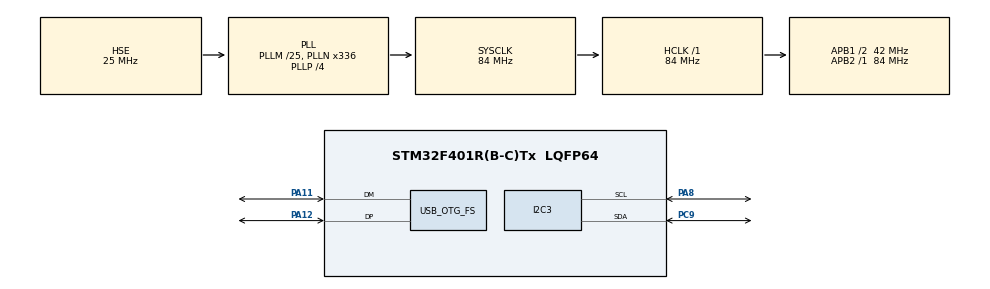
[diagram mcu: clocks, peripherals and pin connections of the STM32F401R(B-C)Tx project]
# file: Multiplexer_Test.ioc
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I2C3.I2C_Mode=I2C_Fast
Mcu.Family=STM32F4
Mcu.Name=STM32F401R(B-C)Tx
Mcu.Package=LQFP64
NVIC.PriorityGroup=NVIC_PRIORITYGROUP_4
PA11.Mode=Device_Only
PA11.Signal=USB_OTG_FS_DM
PA12.Mode=Device_Only
PA12.Signal=USB_OTG_FS_DP
PA13.Mode=Serial_Wire
PA13.Signal=SYS_JTMS-SWDIO
PA14.Mode=Serial_Wire
PA14.Signal=SYS_JTCK-SWCLK
PA8.Mode=I2C
PA8.Signal=I2C3_SCL
PC9.Mode=I2C
PC9.Signal=I2C3_SDA
PH0\ -\ OSC_IN.Mode=HSE-External-Oscillator
PH0\ -\ OSC_IN.Signal=RCC_OSC_IN
PH1\ -\ OSC_OUT.Mode=HSE-External-Oscillator
PH1\ -\ OSC_OUT.Signal=RCC_OSC_OUT
ProjectManager.HeapSize=0x200
ProjectManager.StackSize=0x400
ProjectManager.TargetToolchain=STM32CubeIDE
RCC.48MHZClocksFreq_Value=48000000
RCC.AHBFreq_Value=84000000
RCC.APB1CLKDivider=RCC_HCLK_DIV2
RCC.APB1Freq_Value=42000000
RCC.APB1TimFreq_Value=84000000
RCC.APB2Freq_Value=84000000
RCC.APB2TimFreq_Value=84000000
RCC.CortexFreq_Value=84000000
RCC.HCLKFreq_Value=84000000
RCC.HSE_VALUE=25000000
RCC.HSI_VALUE=16000000
RCC.LSE_VALUE=32768
RCC.PLLM=25
RCC.PLLN=336
RCC.PLLP=RCC_PLLP_DIV4
RCC.PLLQ=7
RCC.SYSCLKFreq_VALUE=84000000
RCC.SYSCLKSource=RCC_SYSCLKSOURCE_PLLCLK
RCC.VCOOutputFreq_Value=336000000
USB_OTG_FS.VirtualMode=Device_Only
board=custom

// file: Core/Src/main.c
/* USER CODE BEGIN Header */
/**
 ******************************************************************************
 * @file           : main.c
 * @brief          : Main program body
 ******************************************************************************
 * @attention
 *
 * Copyright (c) 2026 STMicroelectronics.
 * All rights reserved.
 *
 * This software is licensed under terms that can be found in the LICENSE file
 * in the root directory of this software component.
 * If no LICENSE file comes with this software, it is provided AS-IS.
 *
 ******************************************************************************
 */
/* USER CODE END Header */
#include "main.h"

/* USER CODE BEGIN Includes */
#include "vl53l0.h"
#include "multiplexer.h"
/* USER CODE END Includes */

I2C_HandleTypeDef hi2c3;

PCD_HandleTypeDef hpcd_USB_OTG_FS;

/* USER CODE BEGIN PV */

TCA9548A_Dev_t mux;
VL53L0X_Dev_t sensor[3];
VL53L0X_RangingMeasurementData_t sensor_data[3];
/* USER CODE END PV */

void SystemClock_Config(void);
static void MX_GPIO_Init(void);
static void MX_I2C3_Init(void);
static void MX_USB_OTG_FS_PCD_Init(void);

int main(void)
{

	/* MCU Configuration--------------------------------------------------------*/

	/* Reset of all peripherals, Initializes the Flash interface and the Systick. */
	HAL_Init();

	/* Configure the system clock */
	SystemClock_Config();

	/* Initialize all configured peripherals */
	MX_GPIO_Init();
	MX_I2C3_Init();
	MX_USB_OTG_FS_PCD_Init();
	/* USER CODE BEGIN 2 */
	HAL_Delay(2000); /* Wait for USB */
	/* ── 1. Initialize TCA9548A multiplexer ───────────────────────────────── */
	printf("Initializing TCA9548A multiplexer...\r\n");

	TCA9548A_Status_t mux_status = TCA9548A_Init(&mux, &hi2c3, TCA9548A_DEFAULT_ADDRESS, NULL, 0);  /* No RESET pin control */

	if (mux_status != TCA9548A_OK)
	{
		printf("ERROR: Mux init failed (err %d)\r\n", mux_status);
		while(1);
	}
	printf("TCA9548A multiplexer ready\r\n");

	/* ── 2. Initialize all VL53L0X sensors ───────────────────────────────── */
	for (int i = 0; i < 3; i++)
	{
		/* First, select the channel */
		TCA9548A_SelectChannel(&mux, i);

		/* Initialize sensor on this channel */
		VL53L0X_Status_t tof_status = VL53L0X_Init(&sensor[i],
				&hi2c3,     /* Same I2C bus */
				NULL, 0,    /* XSHUT not used */
				i);         /* Sensor ID */

		if (tof_status != VL53L0X_OK)
		{
			printf("ERROR: Sensor %d init failed (err %d)\r\n", i, tof_status);
			while(1);
		}

		/* Configure sensor to use multiplexer */
		VL53L0X_SetMuxChannel(&sensor[i], &mux, i);

		printf("Sensor %d initialized on channel %d\r\n", i, i);
	}

	printf("All sensors ready!\r\n");

	/* USER CODE END 2 */

	/* Infinite loop */
	/* USER CODE BEGIN WHILE */
	while (1)
	{
		for (int i = 0; i < 3; i++)
		{
			/* VL53L0X driver auto-selects the correct channel */
			VL53L0X_Status_t status = VL53L0X_PerformSingleRangingMeasurement(&sensor[i], &sensor_data[i]);

			if (status == VL53L0X_OK && sensor_data[i].RangeStatus == 0)
			{
				printf("Sensor %d: %d mm\r\n", i, sensor_data[i].RangeMilliMeter);
			}
			else
			{
				printf("Sensor %d: ERROR (status=%d, range_status=%d)\r\n",
						i, status, sensor_data[i].RangeStatus);
			}
		}

		printf("---\r\n");
		HAL_Delay(100);
		/* USER CODE END WHILE */

	}
}

void SystemClock_Config(void)
{
	RCC_OscInitTypeDef RCC_OscInitStruct = {0};
	RCC_ClkInitTypeDef RCC_ClkInitStruct = {0};

	/** Configure the main internal regulator output voltage
	 */
	__HAL_RCC_PWR_CLK_ENABLE();
	__HAL_PWR_VOLTAGESCALING_CONFIG(PWR_REGULATOR_VOLTAGE_SCALE2);

	/** Initializes the RCC Oscillators according to the specified parameters
	 * in the RCC_OscInitTypeDef structure.
	 */
	RCC_OscInitStruct.OscillatorType = RCC_OSCILLATORTYPE_HSE;
	RCC_OscInitStruct.HSEState = RCC_HSE_ON;
	RCC_OscInitStruct.PLL.PLLState = RCC_PLL_ON;
	RCC_OscInitStruct.PLL.PLLSource = RCC_PLLSOURCE_HSE;
	RCC_OscInitStruct.PLL.PLLM = 25;
	RCC_OscInitStruct.PLL.PLLN = 336;
	RCC_OscInitStruct.PLL.PLLP = RCC_PLLP_DIV4;
	RCC_OscInitStruct.PLL.PLLQ = 7;
	if (HAL_RCC_OscConfig(&RCC_OscInitStruct) != HAL_OK)
	{
		Error_Handler();
	}

	/** Initializes the CPU, AHB and APB buses clocks
	 */
	RCC_ClkInitStruct.ClockType = RCC_CLOCKTYPE_HCLK|RCC_CLOCKTYPE_SYSCLK
			|RCC_CLOCKTYPE_PCLK1|RCC_CLOCKTYPE_PCLK2;
	RCC_ClkInitStruct.SYSCLKSource = RCC_SYSCLKSOURCE_PLLCLK;
	RCC_ClkInitStruct.AHBCLKDivider = RCC_SYSCLK_DIV1;
	RCC_ClkInitStruct.APB1CLKDivider = RCC_HCLK_DIV2;
	RCC_ClkInitStruct.APB2CLKDivider = RCC_HCLK_DIV1;

	if (HAL_RCC_ClockConfig(&RCC_ClkInitStruct, FLASH_LATENCY_2) != HAL_OK)
	{
		Error_Handler();
	}
}

static void MX_I2C3_Init(void)
{

	hi2c3.Instance = I2C3;
	hi2c3.Init.ClockSpeed = 400000;
	hi2c3.Init.DutyCycle = I2C_DUTYCYCLE_2;
	hi2c3.Init.OwnAddress1 = 0;
	hi2c3.Init.AddressingMode = I2C_ADDRESSINGMODE_7BIT;
	hi2c3.Init.DualAddressMode = I2C_DUALADDRESS_DISABLE;
	hi2c3.Init.OwnAddress2 = 0;
	hi2c3.Init.GeneralCallMode = I2C_GENERALCALL_DISABLE;
	hi2c3.Init.NoStretchMode = I2C_NOSTRETCH_DISABLE;
	if (HAL_I2C_Init(&hi2c3) != HAL_OK)
	{
		Error_Handler();
	}

}

static void MX_USB_OTG_FS_PCD_Init(void)
{

	hpcd_USB_OTG_FS.Instance = USB_OTG_FS;
	hpcd_USB_OTG_FS.Init.dev_endpoints = 4;
	hpcd_USB_OTG_FS.Init.speed = PCD_SPEED_FULL;
	hpcd_USB_OTG_FS.Init.dma_enable = DISABLE;
	hpcd_USB_OTG_FS.Init.phy_itface = PCD_PHY_EMBEDDED;
	hpcd_USB_OTG_FS.Init.Sof_enable = DISABLE;
	hpcd_USB_OTG_FS.Init.low_power_enable = DISABLE;
	hpcd_USB_OTG_FS.Init.lpm_enable = DISABLE;
	hpcd_USB_OTG_FS.Init.vbus_sensing_enable = DISABLE;
	hpcd_USB_OTG_FS.Init.use_dedicated_ep1 = DISABLE;
	if (HAL_PCD_Init(&hpcd_USB_OTG_FS) != HAL_OK)
	{
		Error_Handler();
	}

}

static void MX_GPIO_Init(void)
{

	/* GPIO Ports Clock Enable */
	__HAL_RCC_GPIOH_CLK_ENABLE();
	__HAL_RCC_GPIOC_CLK_ENABLE();
	__HAL_RCC_GPIOA_CLK_ENABLE();

}

void Error_Handler(void)
{
	__disable_irq();
	while (1)
	{
	}
}
